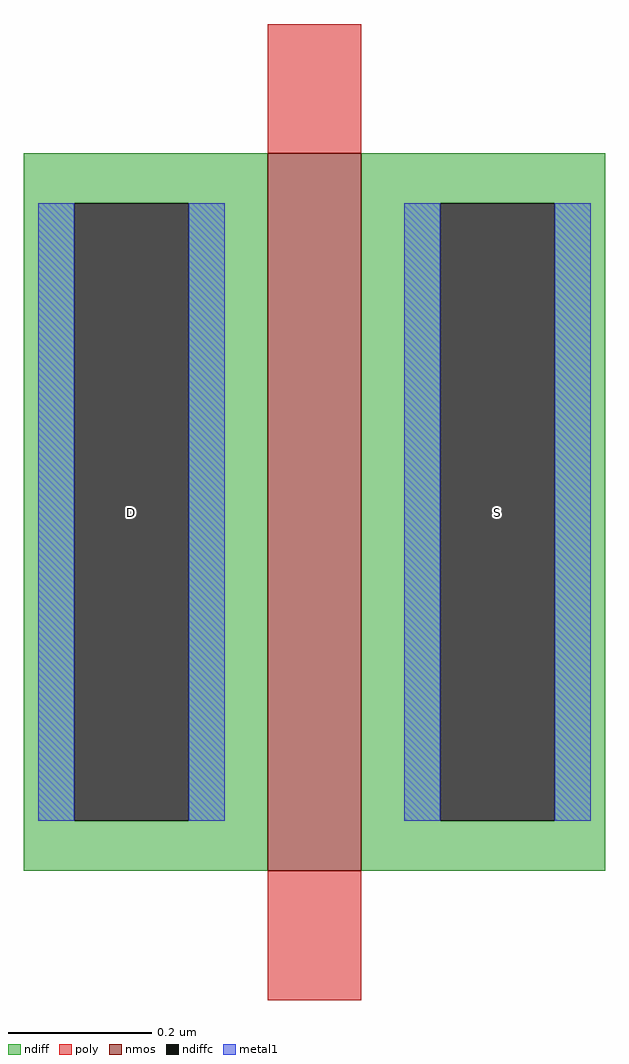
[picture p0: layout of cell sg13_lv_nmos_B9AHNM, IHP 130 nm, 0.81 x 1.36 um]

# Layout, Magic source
magic
tech ihp-sg13g2
magscale 1 2
<< nmos >>
rect -13 -100 13 100
<< ndiff >>
rect -81 86 -13 100
rect -81 -86 -67 86
rect -35 -86 -13 86
rect -81 -100 -13 -86
rect 13 86 81 100
rect 13 -86 35 86
rect 67 -86 81 86
rect 13 -100 81 -86
<< ndiffc >>
rect -67 -86 -35 86
rect 35 -86 67 86
<< poly >>
rect -13 100 13 136
rect -13 -136 13 -100
<< metal1 >>
rect -77 -86 -67 86
rect -35 -86 -25 86
rect 25 -86 35 86
rect 67 -86 77 86
<< labels >>
rlabel ndiffc -51 0 -51 0 0 D
port 1 nsew
rlabel ndiffc 51 0 51 0 0 S
port 2 nsew
<< properties >>
string gencell sg13_lv_nmos
string library sg13g2
string parameters w 1 l 0.13 m 1 nf 1 diffcov 100 polycov 100 guard 0 glc 1 grc 1 gtc 1 gbc 0 tbcov 100 rlcov 100 topc 0 botc 0 poverlap 0 doverlap 1 lmin 0.13 wmin 0.15 class mosfet compatible {sg13_lv_nmos sg13_hv_nmos} full_metal 1 conn_gates 0 gate_ring 0 doports 1 viasrc 0 viadrn 0 viagate 0 ccols 1 viagb 0 viagr 0 viagl 0 viagt 0
<< end >>
